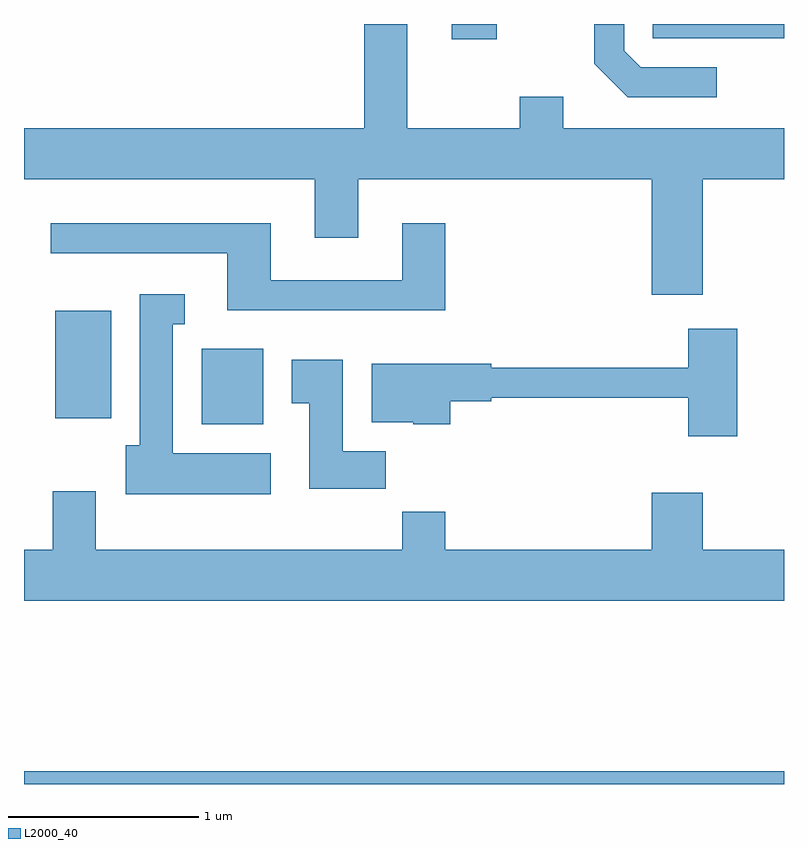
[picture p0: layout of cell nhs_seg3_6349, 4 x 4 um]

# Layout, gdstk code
import gdstk
lib = gdstk.Library(unit=1e-6, precision=1e-09)
def R(c, l, rs):  # rectangles x0, y0, x1, y1
    for r in rs: c.add(gdstk.rectangle(r[:2], r[2:], *l))
def P(c, l, *ps):  # polygons
    for p in ps: c.add(gdstk.Polygon(p, *l))
L2000_40 = (2000, 40)

nhs_seg3_6349 = lib.new_cell('nhs_seg3_6349')
R(nhs_seg3_6349, L2000_40, [(371.611,1173.892,375.611,1173.959), (372.546,1175.786,372.869,1176.184), (371.776,1175.816,372.069,1176.384), (373.861,1177.811,374.098,1177.892), (374.921,1177.816,375.611,1177.892)])
P(nhs_seg3_6349, L2000_40, [(375.184,1177.076),(375.611,1177.076),(375.611,1177.344),(374.449,1177.344),(374.449,1177.509),(374.221,1177.509),(374.221,1177.344),(373.629,1177.344),(373.629,1177.892),(373.401,1177.892),(373.401,1177.344),(371.611,1177.344),(371.611,1177.076),(373.141,1177.076),(373.141,1176.766),(373.369,1176.766),(373.369,1177.076),(374.916,1177.076),(374.916,1176.466),(375.184,1176.466)],
  [(375.258,1177.664),(374.857,1177.664),(374.769,1177.752),(374.769,1177.892),(374.611,1177.892),(374.611,1177.684),(374.789,1177.506),(375.258,1177.506)],
  [(373.829,1176.844),(373.601,1176.844),(373.601,1176.544),(372.909,1176.544),(372.909,1176.844),(371.753,1176.844),(371.753,1176.686),(372.681,1176.686),(372.681,1176.386),(373.829,1176.386)],
  [(372.909,1175.634),(372.394,1175.634),(372.394,1176.311),(372.458,1176.311),(372.458,1176.469),(372.221,1176.469),(372.221,1175.674),(372.146,1175.674),(372.146,1175.416),(372.909,1175.416)],
  [(375.364,1176.289),(375.106,1176.289),(375.106,1176.084),(374.069,1176.084),(374.069,1176.104),(373.441,1176.104),(373.441,1175.796),(373.66,1175.796),(373.66,1175.786),(373.854,1175.786),(373.854,1175.906),(374.069,1175.906),(374.069,1175.926),(375.106,1175.926),(375.106,1175.721),(375.364,1175.721)],
  [(373.514,1175.644),(373.289,1175.644),(373.289,1176.124),(373.021,1176.124),(373.021,1175.896),(373.111,1175.896),(373.111,1175.446),(373.514,1175.446)],
  [(375.611,1175.124),(375.184,1175.124),(375.184,1175.424),(374.916,1175.424),(374.916,1175.124),(373.829,1175.124),(373.829,1175.324),(373.601,1175.324),(373.601,1175.124),(371.989,1175.124),(371.989,1175.434),(371.761,1175.434),(371.761,1175.124),(371.611,1175.124),(371.611,1174.856),(375.611,1174.856)])

lib.write_gds('nhs_seg3_6349.gds')
